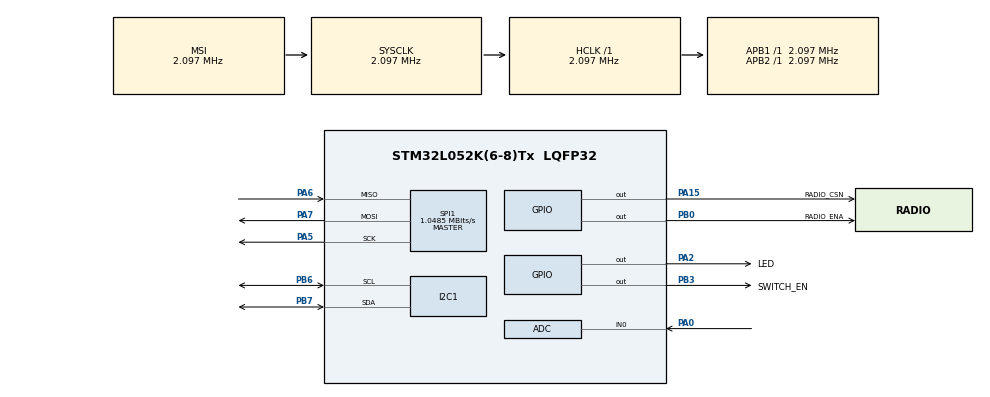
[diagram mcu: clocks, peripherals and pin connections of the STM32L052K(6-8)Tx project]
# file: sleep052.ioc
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Mcu.Family=STM32L0
Mcu.Name=STM32L052K(6-8)Tx
Mcu.Package=LQFP32
PA0.Mode=IN0
PA0.Signal=ADC_IN0
PA15.GPIO_Label=RADIO_CSN
PA15.Signal=GPIO_Output
PA2.GPIO_Label=LED
PA2.Signal=GPIO_Output
PA5.Mode=Full_Duplex_Master
PA5.Signal=SPI1_SCK
PA6.Mode=Full_Duplex_Master
PA6.Signal=SPI1_MISO
PA7.Mode=Full_Duplex_Master
PA7.Signal=SPI1_MOSI
PB0.GPIO_Label=RADIO_ENA
PB0.PinState=GPIO_PIN_SET
PB0.Signal=GPIO_Output
PB3.GPIO_Label=SWITCH_EN
PB3.Signal=GPIO_Output
PB6.Mode=I2C
PB6.Signal=I2C1_SCL
PB7.Mode=I2C
PB7.Signal=I2C1_SDA
PC14-OSC32_IN.Mode=LSE-External-Oscillator
PC14-OSC32_IN.Signal=RCC_OSC32_IN
PC15-OSC32_OUT.Mode=LSE-External-Oscillator
PC15-OSC32_OUT.Signal=RCC_OSC32_OUT
ProjectManager.HeapSize=0x200
ProjectManager.StackSize=0x400
ProjectManager.TargetToolchain=Makefile
RCC.AHBFreq_Value=2097000
RCC.APB1Freq_Value=2097000
RCC.APB1TimFreq_Value=2097000
RCC.APB2Freq_Value=2097000
RCC.APB2TimFreq_Value=2097000
RCC.HCLKFreq_Value=2097000
RCC.HSI16_VALUE=16000000
RCC.HSI48_VALUE=48000000
RCC.HSI_VALUE=16000000
RCC.MSI_VALUE=2097000
RCC.RTCClockSelection=RCC_RTCCLKSOURCE_LSE
RCC.RTCClockSelectionVirtual=RCC_RTCCLKSOURCE_LSE
RCC.SYSCLKFreq_VALUE=2097000
RCC.VCOOutputFreq_Value=48000000
RTC.Alarm=RTC_ALARM_A
RTC.Alarm_B=RTC_ALARM_B
SPI1.CalculateBaudRate=1.0485 MBits/s
SPI1.Direction=SPI_DIRECTION_2LINES
SPI1.Mode=SPI_MODE_MASTER
SPI1.VirtualType=VM_MASTER
VP_RTC_VS_RTC_Activate.Mode=RTC_Enabled
VP_RTC_VS_RTC_Alarm_A_Intern.Mode=Alarm A
VP_RTC_VS_RTC_Alarm_B_Intern.Mode=Alarm B
VP_RTC_VS_RTC_Calendar.Mode=RTC_Calendar
VP_RTC_VS_RTC_WakeUp_intern.Mode=WakeUp
board=sleep052

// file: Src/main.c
/**
  ******************************************************************************
  * File Name          : main.c
  * Description        : Main program body
  ******************************************************************************
  ** This notice applies to any and all portions of this file
  * that are not between comment pairs USER CODE BEGIN and
  * USER CODE END. Other portions of this file, whether
  * inserted by the user or by software development tools
  * are owned by their respective copyright owners.
  *
  * COPYRIGHT(c) 2017 STMicroelectronics
  *
  * Redistribution and use in source and binary forms, with or without modification,
  * are permitted provided that the following conditions are met:
  *   1. Redistributions of source code must retain the above copyright notice,
  *      this list of conditions and the following disclaimer.
  *   2. Redistributions in binary form must reproduce the above copyright notice,
  *      this list of conditions and the following disclaimer in the documentation
  *      and/or other materials provided with the distribution.
  *   3. Neither the name of STMicroelectronics nor the names of its contributors
  *      may be used to endorse or promote products derived from this software
  *      without specific prior written permission.
  *
  * THIS SOFTWARE IS PROVIDED BY THE COPYRIGHT HOLDERS AND CONTRIBUTORS "AS IS"
  * AND ANY EXPRESS OR IMPLIED WARRANTIES, INCLUDING, BUT NOT LIMITED TO, THE
  * IMPLIED WARRANTIES OF MERCHANTABILITY AND FITNESS FOR A PARTICULAR PURPOSE ARE
  * DISCLAIMED. IN NO EVENT SHALL THE COPYRIGHT HOLDER OR CONTRIBUTORS BE LIABLE
  * FOR ANY DIRECT, INDIRECT, INCIDENTAL, SPECIAL, EXEMPLARY, OR CONSEQUENTIAL
  * DAMAGES (INCLUDING, BUT NOT LIMITED TO, PROCUREMENT OF SUBSTITUTE GOODS OR
  * SERVICES; LOSS OF USE, DATA, OR PROFITS; OR BUSINESS INTERRUPTION) HOWEVER
  * CAUSED AND ON ANY THEORY OF LIABILITY, WHETHER IN CONTRACT, STRICT LIABILITY,
  * OR TORT (INCLUDING NEGLIGENCE OR OTHERWISE) ARISING IN ANY WAY OUT OF THE USE
  * OF THIS SOFTWARE, EVEN IF ADVISED OF THE POSSIBILITY OF SUCH DAMAGE.
  *
  ******************************************************************************
  */

#include "main.h"
#include "stm32l0xx_hal.h"

/* USER CODE BEGIN Includes */
#include <string.h>
#include <stdlib.h>
#include "config_eeprom.h"
/* USER CODE END Includes */

ADC_HandleTypeDef hadc;

I2C_HandleTypeDef hi2c1;

RTC_HandleTypeDef hrtc;

SPI_HandleTypeDef hspi1;

/* USER CODE BEGIN PV */
/* Private variables ---------------------------------------------------------*/
// these need to be aligned on 32 bit boundaries
char *ee_unit_id =  (char *)(DATA_EEPROM_BASE + EEADDR_UNIT_ID);
// there are more defined in rf24.c
/* USER CODE END PV */

void SystemClock_Config(void);
static void MX_GPIO_Init(void);
static void MX_RTC_Init(void);
static void MX_I2C1_Init(void);
static void MX_SPI1_Init(void);
static void MX_ADC_Init(void);

/* USER CODE BEGIN PFP */
/* Private function prototypes -----------------------------------------------*/
void RTC_AlarmConfig(void);
void SystemClockConfig_STOP(void);
void led_on();
void led_off();
int send_radio_message(char *, uint8_t);
void bme280_once(char *buf, uint8_t len);
void ADC_Desequence_Powerhungry_Channels(void);
void vdiv_on(void);
void vdiv_off(void);
uint32_t read_adc(uint8_t chan);
void nrf24_init(void);
/* USER CODE END PFP */

/* USER CODE BEGIN 0 */
void led_on(void)
{
  HAL_GPIO_WritePin(LED_GPIO_Port, LED_Pin, GPIO_PIN_SET);
}
void led_off(void)
{
  HAL_GPIO_WritePin(LED_GPIO_Port, LED_Pin, GPIO_PIN_RESET);
}
/* USER CODE END 0 */

int main(void)
{

  /* USER CODE BEGIN 1 */
  char msgbuf[33];
  char bmebuf[32];
  uint32_t raw, count = 0;
  int retry_count = 0;
  double batt;
  /* USER CODE END 1 */

  /* MCU Configuration----------------------------------------------------------*/

  /* Reset of all peripherals, Initializes the Flash interface and the Systick. */
  HAL_Init();

  /* USER CODE BEGIN Init */
  HAL_PWREx_EnableUltraLowPower();
  HAL_PWREx_EnableFastWakeUp();
  __HAL_RCC_WAKEUPSTOP_CLK_CONFIG(RCC_STOP_WAKEUPCLOCK_HSI);
  /* USER CODE END Init */

  /* Configure the system clock */
  SystemClock_Config();

  /* Initialize all configured peripherals */
  MX_GPIO_Init();
  MX_RTC_Init();
  MX_I2C1_Init();
  MX_SPI1_Init();
  MX_ADC_Init();

  /* USER CODE BEGIN 2 */
  nrf24_init();
  /* USER CODE END 2 */

  /* Infinite loop */
  /* USER CODE BEGIN WHILE */
  while (1)
  {
    RTC_AlarmConfig();
    vdiv_on();
    HAL_Delay(5);
    raw = read_adc(0);
    vdiv_off();
    bme280_once(bmebuf, 22);
    batt = raw / EE_BATT_DIV;
    // 32 chars and still human-readable is a very tight fit.
    // snprintf will null-terminate, but we will discard the null since we are
    // sending explicitly sized packets.
    memset(msgbuf, 0, 33); // safety.
    snprintf(msgbuf, 33, "%s %s %.2f %u %x", ee_unit_id, bmebuf, batt, (unsigned int)count++, retry_count & 0x0F);
    if (count==100) count=0;
    retry_count = send_radio_message(msgbuf,strlen(msgbuf)<=32?strlen(msgbuf):32);
    // Go to sleep until next reading.
    ADC_Desequence_Powerhungry_Channels();
    HAL_PWR_EnterSTOPMode(PWR_LOWPOWERREGULATOR_ON, PWR_STOPENTRY_WFI);
    SystemClock_Config();
    //    SystemClockConfig_STOP();

  /* USER CODE END WHILE */

  }

}

/** System Clock Configuration
*/
void SystemClock_Config(void)
{

  RCC_OscInitTypeDef RCC_OscInitStruct;
  RCC_ClkInitTypeDef RCC_ClkInitStruct;
  RCC_PeriphCLKInitTypeDef PeriphClkInit;

    /**Configure the main internal regulator output voltage
    */
  __HAL_PWR_VOLTAGESCALING_CONFIG(PWR_REGULATOR_VOLTAGE_SCALE1);

    /**Configure LSE Drive Capability
    */
  __HAL_RCC_LSEDRIVE_CONFIG(RCC_LSEDRIVE_LOW);

    /**Initializes the CPU, AHB and APB busses clocks
    */
  RCC_OscInitStruct.OscillatorType = RCC_OSCILLATORTYPE_LSE|RCC_OSCILLATORTYPE_MSI;
  RCC_OscInitStruct.LSEState = RCC_LSE_ON;
  RCC_OscInitStruct.MSIState = RCC_MSI_ON;
  RCC_OscInitStruct.MSICalibrationValue = 0;
  RCC_OscInitStruct.MSIClockRange = RCC_MSIRANGE_5;
  RCC_OscInitStruct.PLL.PLLState = RCC_PLL_NONE;
  if (HAL_RCC_OscConfig(&RCC_OscInitStruct) != HAL_OK)
  {
    _Error_Handler(__FILE__, __LINE__);
  }

    /**Initializes the CPU, AHB and APB busses clocks
    */
  RCC_ClkInitStruct.ClockType = RCC_CLOCKTYPE_HCLK|RCC_CLOCKTYPE_SYSCLK
                              |RCC_CLOCKTYPE_PCLK1|RCC_CLOCKTYPE_PCLK2;
  RCC_ClkInitStruct.SYSCLKSource = RCC_SYSCLKSOURCE_MSI;
  RCC_ClkInitStruct.AHBCLKDivider = RCC_SYSCLK_DIV1;
  RCC_ClkInitStruct.APB1CLKDivider = RCC_HCLK_DIV1;
  RCC_ClkInitStruct.APB2CLKDivider = RCC_HCLK_DIV1;

  if (HAL_RCC_ClockConfig(&RCC_ClkInitStruct, FLASH_LATENCY_0) != HAL_OK)
  {
    _Error_Handler(__FILE__, __LINE__);
  }

  PeriphClkInit.PeriphClockSelection = RCC_PERIPHCLK_I2C1|RCC_PERIPHCLK_RTC;
  PeriphClkInit.I2c1ClockSelection = RCC_I2C1CLKSOURCE_PCLK1;
  PeriphClkInit.RTCClockSelection = RCC_RTCCLKSOURCE_LSE;
  if (HAL_RCCEx_PeriphCLKConfig(&PeriphClkInit) != HAL_OK)
  {
    _Error_Handler(__FILE__, __LINE__);
  }

    /**Configure the Systick interrupt time
    */
  HAL_SYSTICK_Config(HAL_RCC_GetHCLKFreq()/1000);

    /**Configure the Systick
    */
  HAL_SYSTICK_CLKSourceConfig(SYSTICK_CLKSOURCE_HCLK);

  /* SysTick_IRQn interrupt configuration */
  HAL_NVIC_SetPriority(SysTick_IRQn, 0, 0);
}

/* ADC init function */
static void MX_ADC_Init(void)
{

  ADC_ChannelConfTypeDef sConfig;

    /**Configure the global features of the ADC (Clock, Resolution, Data Alignment and number of conversion)
    */
  hadc.Instance = ADC1;
  hadc.Init.OversamplingMode = DISABLE;
  hadc.Init.ClockPrescaler = ADC_CLOCK_SYNC_PCLK_DIV1;
  hadc.Init.Resolution = ADC_RESOLUTION_12B;
  hadc.Init.SamplingTime = ADC_SAMPLETIME_1CYCLE_5;
  hadc.Init.ScanConvMode = ADC_SCAN_DIRECTION_FORWARD;
  hadc.Init.DataAlign = ADC_DATAALIGN_RIGHT;
  hadc.Init.ContinuousConvMode = DISABLE;
  hadc.Init.DiscontinuousConvMode = DISABLE;
  hadc.Init.ExternalTrigConvEdge = ADC_EXTERNALTRIGCONVEDGE_NONE;
  hadc.Init.ExternalTrigConv = ADC_SOFTWARE_START;
  hadc.Init.DMAContinuousRequests = DISABLE;
  hadc.Init.EOCSelection = ADC_EOC_SINGLE_CONV;
  hadc.Init.Overrun = ADC_OVR_DATA_PRESERVED;
  hadc.Init.LowPowerAutoWait = DISABLE;
  hadc.Init.LowPowerFrequencyMode = DISABLE;
  hadc.Init.LowPowerAutoPowerOff = DISABLE;
  if (HAL_ADC_Init(&hadc) != HAL_OK)
  {
    _Error_Handler(__FILE__, __LINE__);
  }

    /**Configure for the selected ADC regular channel to be converted.
    */
  sConfig.Channel = ADC_CHANNEL_0;
  sConfig.Rank = ADC_RANK_CHANNEL_NUMBER;
  if (HAL_ADC_ConfigChannel(&hadc, &sConfig) != HAL_OK)
  {
    _Error_Handler(__FILE__, __LINE__);
  }

}

/* I2C1 init function */
static void MX_I2C1_Init(void)
{

  hi2c1.Instance = I2C1;
  hi2c1.Init.Timing = 0x00000708;
  hi2c1.Init.OwnAddress1 = 0;
  hi2c1.Init.AddressingMode = I2C_ADDRESSINGMODE_7BIT;
  hi2c1.Init.DualAddressMode = I2C_DUALADDRESS_DISABLE;
  hi2c1.Init.OwnAddress2 = 0;
  hi2c1.Init.OwnAddress2Masks = I2C_OA2_NOMASK;
  hi2c1.Init.GeneralCallMode = I2C_GENERALCALL_DISABLE;
  hi2c1.Init.NoStretchMode = I2C_NOSTRETCH_DISABLE;
  if (HAL_I2C_Init(&hi2c1) != HAL_OK)
  {
    _Error_Handler(__FILE__, __LINE__);
  }

    /**Configure Analogue filter
    */
  if (HAL_I2CEx_ConfigAnalogFilter(&hi2c1, I2C_ANALOGFILTER_ENABLE) != HAL_OK)
  {
    _Error_Handler(__FILE__, __LINE__);
  }

    /**Configure Digital filter
    */
  if (HAL_I2CEx_ConfigDigitalFilter(&hi2c1, 0) != HAL_OK)
  {
    _Error_Handler(__FILE__, __LINE__);
  }

}

/* RTC init function */
static void MX_RTC_Init(void)
{

  RTC_TimeTypeDef sTime;
  RTC_DateTypeDef sDate;
  RTC_AlarmTypeDef sAlarm;

    /**Initialize RTC Only
    */
  hrtc.Instance = RTC;
  hrtc.Init.HourFormat = RTC_HOURFORMAT_24;
  hrtc.Init.AsynchPrediv = 127;
  hrtc.Init.SynchPrediv = 255;
  hrtc.Init.OutPut = RTC_OUTPUT_DISABLE;
  hrtc.Init.OutPutRemap = RTC_OUTPUT_REMAP_NONE;
  hrtc.Init.OutPutPolarity = RTC_OUTPUT_POLARITY_HIGH;
  hrtc.Init.OutPutType = RTC_OUTPUT_TYPE_OPENDRAIN;
  if (HAL_RTC_Init(&hrtc) != HAL_OK)
  {
    _Error_Handler(__FILE__, __LINE__);
  }

    /**Initialize RTC and set the Time and Date
    */
  if(HAL_RTCEx_BKUPRead(&hrtc, RTC_BKP_DR0) != 0x32F2){
  sTime.Hours = 0x0;
  sTime.Minutes = 0x0;
  sTime.Seconds = 0x0;
  sTime.DayLightSaving = RTC_DAYLIGHTSAVING_NONE;
  sTime.StoreOperation = RTC_STOREOPERATION_RESET;
  if (HAL_RTC_SetTime(&hrtc, &sTime, RTC_FORMAT_BCD) != HAL_OK)
  {
    _Error_Handler(__FILE__, __LINE__);
  }

  sDate.WeekDay = RTC_WEEKDAY_MONDAY;
  sDate.Month = RTC_MONTH_JANUARY;
  sDate.Date = 0x1;
  sDate.Year = 0x0;

  if (HAL_RTC_SetDate(&hrtc, &sDate, RTC_FORMAT_BCD) != HAL_OK)
  {
    _Error_Handler(__FILE__, __LINE__);
  }

    HAL_RTCEx_BKUPWrite(&hrtc,RTC_BKP_DR0,0x32F2);
  }
    /**Enable the Alarm A
    */
  sAlarm.AlarmTime.Hours = 0x0;
  sAlarm.AlarmTime.Minutes = 0x0;
  sAlarm.AlarmTime.Seconds = 0x0;
  sAlarm.AlarmTime.SubSeconds = 0x0;
  sAlarm.AlarmTime.DayLightSaving = RTC_DAYLIGHTSAVING_NONE;
  sAlarm.AlarmTime.StoreOperation = RTC_STOREOPERATION_RESET;
  sAlarm.AlarmMask = RTC_ALARMMASK_NONE;
  sAlarm.AlarmSubSecondMask = RTC_ALARMSUBSECONDMASK_ALL;
  sAlarm.AlarmDateWeekDaySel = RTC_ALARMDATEWEEKDAYSEL_DATE;
  sAlarm.AlarmDateWeekDay = 0x1;
  sAlarm.Alarm = RTC_ALARM_A;
  if (HAL_RTC_SetAlarm(&hrtc, &sAlarm, RTC_FORMAT_BCD) != HAL_OK)
  {
    _Error_Handler(__FILE__, __LINE__);
  }

    /**Enable the Alarm B
    */
  sAlarm.AlarmDateWeekDay = 0x1;
  sAlarm.Alarm = RTC_ALARM_B;
  if (HAL_RTC_SetAlarm(&hrtc, &sAlarm, RTC_FORMAT_BCD) != HAL_OK)
  {
    _Error_Handler(__FILE__, __LINE__);
  }

    /**Enable the WakeUp
    */
  if (HAL_RTCEx_SetWakeUpTimer(&hrtc, 0, RTC_WAKEUPCLOCK_RTCCLK_DIV16) != HAL_OK)
  {
    _Error_Handler(__FILE__, __LINE__);
  }

}

/* SPI1 init function */
static void MX_SPI1_Init(void)
{

  /* SPI1 parameter configuration*/
  hspi1.Instance = SPI1;
  hspi1.Init.Mode = SPI_MODE_MASTER;
  hspi1.Init.Direction = SPI_DIRECTION_2LINES;
  hspi1.Init.DataSize = SPI_DATASIZE_8BIT;
  hspi1.Init.CLKPolarity = SPI_POLARITY_LOW;
  hspi1.Init.CLKPhase = SPI_PHASE_1EDGE;
  hspi1.Init.NSS = SPI_NSS_SOFT;
  hspi1.Init.BaudRatePrescaler = SPI_BAUDRATEPRESCALER_2;
  hspi1.Init.FirstBit = SPI_FIRSTBIT_MSB;
  hspi1.Init.TIMode = SPI_TIMODE_DISABLE;
  hspi1.Init.CRCCalculation = SPI_CRCCALCULATION_DISABLE;
  hspi1.Init.CRCPolynomial = 7;
  if (HAL_SPI_Init(&hspi1) != HAL_OK)
  {
    _Error_Handler(__FILE__, __LINE__);
  }

}

/** Configure pins as
        * Analog
        * Input
        * Output
        * EVENT_OUT
        * EXTI
        * Free pins are configured automatically as Analog (this feature is enabled through
        * the Code Generation settings)
*/
static void MX_GPIO_Init(void)
{

  GPIO_InitTypeDef GPIO_InitStruct;

  /* GPIO Ports Clock Enable */
  __HAL_RCC_GPIOC_CLK_ENABLE();
  __HAL_RCC_GPIOA_CLK_ENABLE();
  __HAL_RCC_GPIOB_CLK_ENABLE();

  /*Configure GPIO pin Output Level */
  HAL_GPIO_WritePin(GPIOA, LED_Pin|RADIO_CSN_Pin, GPIO_PIN_RESET);

  /*Configure GPIO pin Output Level */
  HAL_GPIO_WritePin(RADIO_ENA_GPIO_Port, RADIO_ENA_Pin, GPIO_PIN_SET);

  /*Configure GPIO pin Output Level */
  HAL_GPIO_WritePin(SWITCH_EN_GPIO_Port, SWITCH_EN_Pin, GPIO_PIN_RESET);

  /*Configure GPIO pins : PA1 PA3 PA4 PA8
                           PA9 PA10 PA11 PA12
                           PA13 PA14 */
  GPIO_InitStruct.Pin = GPIO_PIN_1|GPIO_PIN_3|GPIO_PIN_4|GPIO_PIN_8
                          |GPIO_PIN_9|GPIO_PIN_10|GPIO_PIN_11|GPIO_PIN_12
                          |GPIO_PIN_13|GPIO_PIN_14;
  GPIO_InitStruct.Mode = GPIO_MODE_ANALOG;
  GPIO_InitStruct.Pull = GPIO_NOPULL;
  HAL_GPIO_Init(GPIOA, &GPIO_InitStruct);

  /*Configure GPIO pins : LED_Pin RADIO_CSN_Pin */
  GPIO_InitStruct.Pin = LED_Pin|RADIO_CSN_Pin;
  GPIO_InitStruct.Mode = GPIO_MODE_OUTPUT_PP;
  GPIO_InitStruct.Pull = GPIO_NOPULL;
  GPIO_InitStruct.Speed = GPIO_SPEED_FREQ_LOW;
  HAL_GPIO_Init(GPIOA, &GPIO_InitStruct);

  /*Configure GPIO pins : RADIO_ENA_Pin SWITCH_EN_Pin */
  GPIO_InitStruct.Pin = RADIO_ENA_Pin|SWITCH_EN_Pin;
  GPIO_InitStruct.Mode = GPIO_MODE_OUTPUT_PP;
  GPIO_InitStruct.Pull = GPIO_NOPULL;
  GPIO_InitStruct.Speed = GPIO_SPEED_FREQ_LOW;
  HAL_GPIO_Init(GPIOB, &GPIO_InitStruct);

  /*Configure GPIO pins : PB1 PB4 PB5 */
  GPIO_InitStruct.Pin = GPIO_PIN_1|GPIO_PIN_4|GPIO_PIN_5;
  GPIO_InitStruct.Mode = GPIO_MODE_ANALOG;
  GPIO_InitStruct.Pull = GPIO_NOPULL;
  HAL_GPIO_Init(GPIOB, &GPIO_InitStruct);

}

/* USER CODE BEGIN 4 */
void SystemClockConfig_STOP(void)
{
  RCC_ClkInitTypeDef RCC_ClkInitStruct;
  RCC_OscInitTypeDef RCC_OscInitStruct;
  __HAL_RCC_PWR_CLK_ENABLE();
  __HAL_PWR_VOLTAGESCALING_CONFIG(PWR_REGULATOR_VOLTAGE_SCALE1);
  HAL_RCC_GetOscConfig(&RCC_OscInitStruct);
  RCC_OscInitStruct.OscillatorType = RCC_OSCILLATORTYPE_HSI|RCC_OSCILLATORTYPE_LSE;
  RCC_OscInitStruct.HSEState = RCC_HSE_OFF;
  RCC_OscInitStruct.HSEState = RCC_LSE_ON;
  RCC_OscInitStruct.HSIState = RCC_HSI_ON;
  RCC_OscInitStruct.PLL.PLLState = RCC_PLL_ON;
  RCC_OscInitStruct.PLL.PLLSource = RCC_PLLSOURCE_HSI;
  RCC_OscInitStruct.PLL.PLLMUL = RCC_PLL_MUL3;
  RCC_OscInitStruct.PLL.PLLDIV = RCC_PLL_DIV2;
  if(HAL_RCC_OscConfig(&RCC_OscInitStruct) != HAL_OK)
    Error_Handler();
  RCC_ClkInitStruct.ClockType = RCC_CLOCKTYPE_SYSCLK;
  RCC_ClkInitStruct.SYSCLKSource = RCC_SYSCLKSOURCE_PLLCLK;
  if(HAL_RCC_ClockConfig(&RCC_ClkInitStruct, FLASH_LATENCY_1) != HAL_OK)
    Error_Handler();
}

void HAL_RTC_AlarmAEventCallback(RTC_HandleTypeDef *hrtc)
{
}
#define RTC_ASYNCH_PREDIV  0x7F
#define RTC_SYNCH_PREDIV   0x00FF

void RTC_AlarmConfig(void)
{
  RTC_DateTypeDef  sdatestructure;
  RTC_TimeTypeDef  stimestructure;
  RTC_AlarmTypeDef salarmstructure;

  /*##-1- Configure the RTC peripheral #######################################*/
  /* Configure RTC prescaler and RTC data registers */
  /* RTC configured as follow:
      - Hour Format    = Format 24
      - Asynch Prediv  = Value according to source clock
      - Synch Prediv   = Value according to source clock
      - OutPut         = Output Disable
      - OutPutPolarity = High Polarity
      - OutPutType     = Open Drain */
  hrtc.Instance = RTC;
  hrtc.Init.HourFormat = RTC_HOURFORMAT_24;
  hrtc.Init.AsynchPrediv = RTC_ASYNCH_PREDIV;
  hrtc.Init.SynchPrediv = RTC_SYNCH_PREDIV;
  hrtc.Init.OutPut = RTC_OUTPUT_DISABLE;
  hrtc.Init.OutPutPolarity = RTC_OUTPUT_POLARITY_HIGH;
  hrtc.Init.OutPutType = RTC_OUTPUT_TYPE_OPENDRAIN;

  if(HAL_RTC_Init(&hrtc) != HAL_OK)
    {
      /* Initialization Error */
      Error_Handler();
    }

  /*##-2- Configure the RTC Alarm peripheral #################################*/
  /* Set Alarm to 00:INT_MIN:INT_SEC
     RTC Alarm Generation: Alarm on Hours, Minutes and Seconds */
  salarmstructure.Alarm = RTC_ALARM_A;
  salarmstructure.AlarmDateWeekDay = RTC_WEEKDAY_MONDAY;
  salarmstructure.AlarmDateWeekDaySel = RTC_ALARMDATEWEEKDAYSEL_WEEKDAY;
  salarmstructure.AlarmMask = RTC_ALARMMASK_DATEWEEKDAY;
  salarmstructure.AlarmSubSecondMask = RTC_ALARMSUBSECONDMASK_NONE;
  salarmstructure.AlarmTime.TimeFormat = RTC_HOURFORMAT12_AM;
  salarmstructure.AlarmTime.Hours = 0x00;
  salarmstructure.AlarmTime.Minutes = EE_INT_MIN;
  salarmstructure.AlarmTime.Seconds = EE_INT_SEC;
  salarmstructure.AlarmTime.SubSeconds = 0x00;

  if(HAL_RTC_SetAlarm_IT(&hrtc,&salarmstructure,RTC_FORMAT_BCD) != HAL_OK)
    {
      /* Initialization Error */
      Error_Handler();
    }

  HAL_NVIC_EnableIRQ(RTC_IRQn);
  /*##-3- Configure the Date #################################################*/
  /* Set Date: Monday April 14th 2014 */
  sdatestructure.Year = 0x14;
  sdatestructure.Month = RTC_MONTH_APRIL;
  sdatestructure.Date = 0x14;
  sdatestructure.WeekDay = RTC_WEEKDAY_MONDAY;

  if(HAL_RTC_SetDate(&hrtc,&sdatestructure,RTC_FORMAT_BCD) != HAL_OK)
    {
      /* Initialization Error */
      Error_Handler();
    }
  /*##-4- Configure the Time #################################################*/
  /* Set Time: 00:00:00 */
  stimestructure.Hours = 0x00;
  stimestructure.Minutes = 0x00;
  stimestructure.Seconds = 0x00;
  stimestructure.TimeFormat = RTC_HOURFORMAT12_AM;
  stimestructure.DayLightSaving = RTC_DAYLIGHTSAVING_NONE ;
  stimestructure.StoreOperation = RTC_STOREOPERATION_RESET;

  if(HAL_RTC_SetTime(&hrtc,&stimestructure,RTC_FORMAT_BCD) != HAL_OK)
    {
      /* Initialization Error */
      Error_Handler();
    }
}

uint32_t read_adc(uint8_t chan)
{
  uint32_t i, s=0;
  ADC_ChannelConfTypeDef   sConfig;

  sConfig.Channel = ADC_CHANNEL_0;
  if (HAL_ADC_ConfigChannel(&hadc, &sConfig) != HAL_OK)
    printf("HAL_ADC_ConfigChannel error\r\n");

  // discard first conversion
  HAL_ADC_Start(&hadc);
  HAL_ADC_PollForConversion(&hadc, 10);
  // average 16 samples to cut down the noise
  for (i=0; i<16; i++) {
    if (HAL_ADC_Start(&hadc) != HAL_OK)
      printf("HAL_ADC_Start error\r\n");
    if (HAL_ADC_PollForConversion(&hadc, 10) != HAL_OK)
      printf("HAL_ADC_PollForConversion error\r\n");
    s = s + HAL_ADC_GetValue(&hadc);
  }
  return(s/i);
}

void ADC_Desequence_Powerhungry_Channels(void)
{
  ADC_ChannelConfTypeDef sConfig;

  /**Configure for the selected ADC regular channel NOT to be converted.
   */
  sConfig.Channel = ADC_CHANNEL_TEMPSENSOR;
  sConfig.Rank = ADC_RANK_NONE;  // Disable the selected rank (selected channel) from sequencer
  if (HAL_ADC_ConfigChannel(&hadc, &sConfig) != HAL_OK)
    {
      _Error_Handler(__FILE__, __LINE__);
    }

  /**Configure for the selected ADC regular channel NOT to be converted.
   */
  sConfig.Channel = ADC_CHANNEL_VREFINT;
  sConfig.Rank = ADC_RANK_NONE;  // Disable the selected rank (selected channel) from sequencer
  if (HAL_ADC_ConfigChannel(&hadc, &sConfig) != HAL_OK)
    {
      _Error_Handler(__FILE__, __LINE__);
    }
}

void vdiv_on(void)
{
  HAL_GPIO_WritePin(SWITCH_EN_GPIO_Port, SWITCH_EN_Pin, GPIO_PIN_SET);
}
void vdiv_off(void)
{
  HAL_GPIO_WritePin(SWITCH_EN_GPIO_Port, SWITCH_EN_Pin, GPIO_PIN_RESET);
}

/* USER CODE END 4 */

void _Error_Handler(char * file, int line)
{
  while(1)
  {
  }
}

/************************ (C) COPYRIGHT STMicroelectronics *****END OF FILE****/
